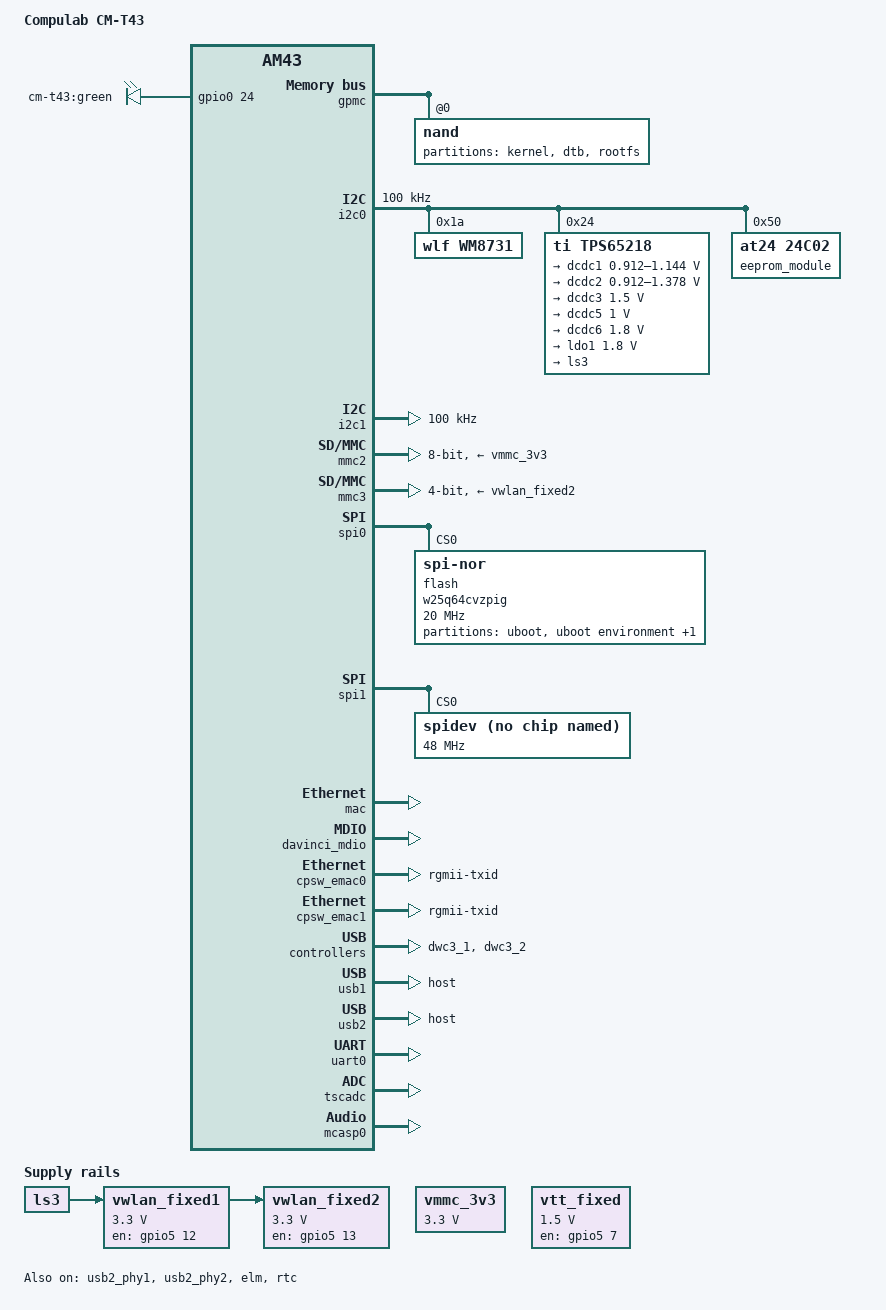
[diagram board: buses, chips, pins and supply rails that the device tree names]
/*
 * Support for CompuLab CM-T43
 */
 
/dts-v1/;

#include "am4372.dtsi"
#include <dt-bindings/pinctrl/am43xx.h>
#include <dt-bindings/pwm/pwm.h>
#include <dt-bindings/gpio/gpio.h>
#include <dt-bindings/interrupt-controller/irq.h>

/ {
	model = "Compulab CM-T43";
	compatible = "compulab,am437x-cm-t43","ti,am4372","ti,am43";

	leds {
		compatible = "gpio-leds";

		ledb {
			label = "cm-t43:green";
			gpios = <&gpio0 24 GPIO_ACTIVE_HIGH>;
			linux,default-trigger = "heartbeat";
		};
	};
	
	vmmc_3v3: fixedregulator-v3_3 {
		compatible = "regulator-fixed";
		regulator-name = "vmmc_3v3";
		regulator-min-microvolt = <3300000>;
		regulator-max-microvolt = <3300000>;
		regulator-always-on;
		enable-active-high;
	};

	vwlan_fixed1: fixed-regulator-vwlan1 {
		compatible = "regulator-fixed";
		regulator-name = "vwlan_fixed1";
		regulator-min-microvolt = <3300000>;
		regulator-max-microvolt = <3300000>;
		vin-supply = <&ls3>;
		gpio = <&gpio5 12 GPIO_ACTIVE_HIGH>;
		enable-active-high;
	};

	vwlan_fixed2: fixed-regulator-vwlan2 {
		compatible = "regulator-fixed";
		regulator-name = "vwlan_fixed2";
		regulator-min-microvolt = <3300000>;
		regulator-max-microvolt = <3300000>;
		gpio = <&gpio5 13 GPIO_ACTIVE_HIGH>;
		vin-supply = <&vwlan_fixed1>;
		enable-active-high;
	};

	vtt_fixed: fixedregulator-vtt {
		compatible = "regulator-fixed";
		regulator-name = "vtt_fixed";
		regulator-min-microvolt = <1500000>;
		regulator-max-microvolt = <1500000>;
		regulator-always-on;
		regulator-boot-on;
		enable-active-high;
		gpio = <&gpio5 7 GPIO_ACTIVE_HIGH>;
	};

	sound {
		compatible = "simple-audio-card";
		simple-audio-card,name = "CM-T43-Sound-Card";
		simple-audio-card,format = "i2s";
		simple-audio-card,bitclock-master = <&dailink0_master>;
		simple-audio-card,frame-master = <&dailink0_master>;
		simple-audio-card,widgets =
			"Headphone", "Headphone Jack",
			"Microphone", "Microphone Jack",
			"Line", "Line Jack";
		simple-audio-card,routing =
			"Headphone Jack", "RHPOUT",
			"Headphone Jack", "LHPOUT",
			"LLINEIN", "Line Jack",
			"MICIN", "Mic Bias",
			"Mic Bias", "Microphone Jack";

		simple-audio-card,cpu {
			sound-dai = <&mcasp0 0>;
			system-clock-direction = "out";
			clock-id = <0>;
		};

		dailink0_master: simple-audio-card,codec {
			sound-dai = <&wm8731>;
			system-clock-frequency = <12000000>;
			system-clock-direction = "in";
			clock-id = <1>;
		};
	};
};

&am43xx_pinmux {
	pinctrl-names = "default";
	pinctrl-0 = <&cm_t43_led_pins>;

	cm_t43_led_pins: cm_t43_led_pins {
		pinctrl-single,pins = <
			0x278 (MUX_MODE7)
		>;
	};

	i2c0_pins: i2c0_pins {
		pinctrl-single,pins = <
			0x188 (PIN_INPUT_PULLUP | SLEWCTRL_FAST | MUX_MODE0)  /* i2c0_sda.i2c0_sda */
			0x18c (PIN_INPUT_PULLUP | SLEWCTRL_FAST | MUX_MODE0)  /* i2c0_scl.i2c0_scl */
		>;
	};

	primary_i2c1_pins_default: primary_i2c1_pins_default {
		pinctrl-single,pins = <
			0x110 ( PIN_INPUT | MUX_MODE3 ) /* (B13) mii1_rx_er.I2C1_SCL */
			0x10c ( PIN_INPUT | MUX_MODE3 ) /* (B14) mii1_crs.I2C1_SDA */
		>;
	};

	mcasp0_pins: mcasp0_pins {
		pinctrl-single,pins = <
			0x1ac (PIN_INPUT_PULLDOWN  | MUX_MODE0)  /* mcasp0.ahclkx */
			0x194 (PIN_INPUT_PULLDOWN | MUX_MODE0)  /* mcasp0.fsx */
			0x1a8 (PIN_INPUT_PULLDOWN  | MUX_MODE0)  /* mcasp0.axr1 */
			0x198 (PIN_OUTPUT_PULLDOWN | MUX_MODE0)  /* mcasp0.axr0 */
			0x190 (PIN_INPUT_PULLDOWN | MUX_MODE0)  /* mcasp0.aclkx */
		>;
	};

	emmc_pins: emmc_pins {
		pinctrl-single,pins = <
			0x20 (PIN_INPUT_PULLUP | MUX_MODE2) /* gpmc_ad8.mmc1_dat0 */
			0x24 (PIN_INPUT_PULLUP | MUX_MODE2) /* gpmc_ad9.mmc1_dat1 */
			0x28 (PIN_INPUT_PULLUP | MUX_MODE2) /* gpmc_ad10.mmc1_dat2 */
			0x2c (PIN_INPUT_PULLUP | MUX_MODE2) /* gpmc_ad11.mmc1_dat3 */
			0x30 (PIN_INPUT_PULLUP | MUX_MODE2) /* gpmc_ad12.mmc1_dat4 */
			0x34 (PIN_INPUT_PULLUP | MUX_MODE2) /* gpmc_ad13.mmc1_dat5 */
			0x38 (PIN_INPUT_PULLUP | MUX_MODE2) /* gpmc_ad14.mmc1_dat6 */
			0x3c (PIN_INPUT_PULLUP | MUX_MODE2) /* gpmc_ad15.mmc1_dat7 */
			0x80 (PIN_INPUT_PULLUP | MUX_MODE2) /* gpmc_csn1.mmc1_clk */
			0x84 (PIN_INPUT_PULLUP | MUX_MODE2) /* gpmc_csn2.mmc1_cmd */
		>;
	};

	mmc3_pins_default: mmc3_pins_default {
		pinctrl-single,pins = <
			0x1F0 (PIN_INPUT_PULLUP | MUX_MODE3) /* cam1_data2.mmc2_clk */
			0x1F4 (PIN_INPUT_PULLUP | MUX_MODE3) /* cam1_data3.mmc2_cmd */
			0x1F8 (PIN_INPUT_PULLUP | MUX_MODE3) /* cam1_data4.mmc2_dat0 */
			0x1FC (PIN_INPUT_PULLUP | MUX_MODE3) /* cam1_data5.mmc2_dat1 */
			0x200 (PIN_INPUT_PULLUP | MUX_MODE3) /* cam1_data6.mmc2_dat2 */
			0x204 (PIN_INPUT_PULLUP | MUX_MODE3) /* cam1_data7.mmc2_dat3 */
		>;
	};

	mmc3_pins_idle: mmc3_pins_idle {
		pinctrl-single,pins = <
			0x1FC (PIN_INPUT_PULLUP | MUX_MODE7) /* cam1_data5.gpio4_19 */
		>;
	};

	spi0_pins: pinmux_spi0_pins {
		pinctrl-single,pins = <
			0x150 (PIN_INPUT | MUX_MODE0) /* spi0_sclk.spi0_sclk */
			0x154 (PIN_INPUT | MUX_MODE0) /* spi0_d0.spi0_d0 */
			0x158 (PIN_OUTPUT | MUX_MODE0) /* spi0_d1.spi0_d1 */
			0x15C (PIN_OUTPUT | MUX_MODE0) /* spi0_cs0.spi0_cs0 */
		>;
	};

	/* start */

	spi1_pins_default: spi1_pins_default {
		pinctrl-single,pins = <
			0x164 ( PIN_INPUT_PULLUP | MUX_MODE4 ) /* (G24) eCAP0_in_PWM0_out.spi1_sclk */
			0x168 ( PIN_OUTPUT_PULLUP | MUX_MODE4 ) /* (L25) uart0_ctsn.spi1_d0 */
			0x16c ( PIN_INPUT_PULLUP | MUX_MODE4 ) /* (J25) uart0_rtsn.spi1_d1 */
			0x178 ( PIN_OUTPUT_PULLUP | MUX_MODE4 ) /* (K22) uart1_ctsn.spi1_cs0 */
			0x270 ( PIN_OUTPUT_PULLUP | MUX_MODE4 ) /* (D24) xdma_event_intr0.spi1_cs1 */
		>;
	};

	/* end */
	
	wlan_pins: wlan_pins {
		pinctrl-single,pins = <
			0x248	(PIN_INPUT_PULLUP | MUX_MODE7)
			0x24C	(PIN_INPUT_PULLUP | MUX_MODE7)
		>;
	};

	nand_flash_x8: nand_flash_x8 {
		pinctrl-single,pins = <
			0x00 (PIN_INPUT | PULL_DISABLE | MUX_MODE0)
			0x04 (PIN_INPUT | PULL_DISABLE | MUX_MODE0)
			0x08 (PIN_INPUT | PULL_DISABLE | MUX_MODE0)
			0x0c (PIN_INPUT | PULL_DISABLE | MUX_MODE0)
			0x10 (PIN_INPUT | PULL_DISABLE | MUX_MODE0)
			0x14 (PIN_INPUT | PULL_DISABLE | MUX_MODE0)
			0x18 (PIN_INPUT | PULL_DISABLE | MUX_MODE0)
			0x1c (PIN_INPUT | PULL_DISABLE | MUX_MODE0)
			0x70 (PIN_INPUT_PULLUP  | MUX_MODE0)
			0x74 (PIN_OUTPUT_PULLUP | MUX_MODE0)
			0x7c (PIN_OUTPUT_PULLUP | MUX_MODE0)
			0x98 (PIN_OUTPUT_PULLDOWN | MUX_MODE0)
			0x94 (PIN_OUTPUT_PULLDOWN | MUX_MODE0)
			0x90 (PIN_OUTPUT_PULLDOWN | MUX_MODE0)
			0x9c (PIN_OUTPUT_PULLDOWN | MUX_MODE0)
		>;
	};

	cpsw_default: cpsw_default {
		pinctrl-single,pins = <
			/* Slave 1 */
			0x114 (PIN_OUTPUT_PULLDOWN | MUX_MODE2)	/* mii1_txen.rgmii1_txen */
			0x118 (PIN_INPUT_PULLDOWN | MUX_MODE2)	/* mii1_rxdv.rgmii1_rxctl */
			0x11c (PIN_OUTPUT_PULLDOWN | MUX_MODE2)	/* mii1_txd1.rgmii1_txd3 */
			0x120 (PIN_OUTPUT_PULLDOWN | MUX_MODE2)	/* mii1_txd0.rgmii1_txd2 */
			0x124 (PIN_OUTPUT_PULLDOWN | MUX_MODE2)	/* mii1_txd1.rgmii1_txd1 */
			0x128 (PIN_OUTPUT_PULLDOWN | MUX_MODE2)	/* mii1_txd0.rgmii1_txd0 */
			0x12c (PIN_OUTPUT_PULLDOWN | MUX_MODE2)	/* mii1_txclk.rmii1_tclk */
			0x130 (PIN_INPUT_PULLDOWN | MUX_MODE2)	/* mii1_rxclk.rmii1_rclk */
			0x134 (PIN_INPUT_PULLDOWN | MUX_MODE2)	/* mii1_rxd1.rgmii1_rxd3 */
			0x138 (PIN_INPUT_PULLDOWN | MUX_MODE2)	/* mii1_rxd0.rgmii1_rxd2 */
			0x13c (PIN_INPUT_PULLDOWN | MUX_MODE2)	/* mii1_rxd1.rgmii1_rxd1 */
			0x140 (PIN_INPUT_PULLDOWN | MUX_MODE2)	/* mii1_rxd0.rgmii1_rxd0 */
			0x274 (MUX_MODE3)
			/* Slave 2 */
			0x40 (PIN_OUTPUT_PULLDOWN | MUX_MODE2)	/* gpmc_a0.txen */
			0x44 (PIN_INPUT_PULLDOWN  | MUX_MODE2)	/* gpmc_a1.rxctl */
			0x48 (PIN_OUTPUT_PULLDOWN | MUX_MODE2)	/* gpmc_a2.txd3 */
			0x4c (PIN_OUTPUT_PULLDOWN | MUX_MODE2)	/* gpmc_a3.txd2 */
			0x50 (PIN_OUTPUT_PULLDOWN | MUX_MODE2)	/* gpmc_a4.txd1 */
			0x54 (PIN_OUTPUT_PULLDOWN | MUX_MODE2)	/* gpmc_a5.txd0 */
			0x58 (PIN_OUTPUT_PULLDOWN | MUX_MODE2)	/* gpmc_a6.tclk */
			0x5c (PIN_INPUT_PULLDOWN  | MUX_MODE2)	/* gpmc_a7.rclk */
			0x60 (PIN_INPUT_PULLDOWN  | MUX_MODE2)	/* gpmc_a8.rxd3 */
			0x64 (PIN_INPUT_PULLDOWN  | MUX_MODE2)	/* gpmc_a9.rxd2 */
			0x68 (PIN_INPUT_PULLDOWN  | MUX_MODE2)	/* gpmc_a10.rxd1 */
			0x6c (PIN_INPUT_PULLDOWN  | MUX_MODE2)	/* gpmc_a11.rxd0 */
			0x238 (MUX_MODE7)
		>;
	};

	cpsw_sleep: cpsw_sleep {
		pinctrl-single,pins = <
			/* Slave 1 reset value */
			0x114 (PIN_INPUT_PULLDOWN | MUX_MODE7)
			0x118 (PIN_INPUT_PULLDOWN | MUX_MODE7)
			0x11c (PIN_INPUT_PULLDOWN | MUX_MODE7)
			0x120 (PIN_INPUT_PULLDOWN | MUX_MODE7)
			0x124 (PIN_INPUT_PULLDOWN | MUX_MODE7)
			0x128 (PIN_INPUT_PULLDOWN | MUX_MODE7)
			0x12c (PIN_INPUT_PULLDOWN | MUX_MODE7)
			0x130 (PIN_INPUT_PULLDOWN | MUX_MODE7)
			0x134 (PIN_INPUT | PULL_DISABLE | MUX_MODE7)
			0x138 (PIN_INPUT | PULL_DISABLE | MUX_MODE7)
			0x13c (PIN_INPUT | PULL_DISABLE | MUX_MODE7)
			0x140 (PIN_INPUT | PULL_DISABLE | MUX_MODE7)
		>;
	};

	davinci_mdio_default: davinci_mdio_default {
		pinctrl-single,pins = <
			/* MDIO */
			0x148 (PIN_INPUT_PULLUP | SLEWCTRL_FAST | MUX_MODE0)	/* mdio_data.mdio_data */
			0x14c (PIN_OUTPUT_PULLUP | MUX_MODE0)			/* mdio_clk.mdio_clk */
		>;
	};

	davinci_mdio_sleep: davinci_mdio_sleep {
		pinctrl-single,pins = <
			/* MDIO reset value */
			0x148 (PIN_INPUT | PULL_DISABLE | MUX_MODE7)
			0x14c (PIN_INPUT | PULL_DISABLE | MUX_MODE7)
		>;
	};
};

&gpmc {
	status = "okay";
	pinctrl-names = "default";
	pinctrl-0 = <&nand_flash_x8>;
	ranges = <0 0 0x08000000 0x1000000>;
	nand@0,0 {
		reg = <0 0 0>;
		ti,nand-ecc-opt = "bch8";
		ti,elm-id = <&elm>;

		nand-bus-width = <8>;
		gpmc,device-width = <1>;
		gpmc,sync-clk-ps = <0>;
		gpmc,cs-on-ns = <0>;
		gpmc,cs-rd-off-ns = <44>;
		gpmc,cs-wr-off-ns = <44>;
		gpmc,adv-on-ns = <6>;
		gpmc,adv-rd-off-ns = <34>;
		gpmc,adv-wr-off-ns = <44>;
		gpmc,we-on-ns = <0>;
		gpmc,we-off-ns = <40>;
		gpmc,oe-on-ns = <0>;
		gpmc,oe-off-ns = <54>;
		gpmc,access-ns = <64>;
		gpmc,rd-cycle-ns = <82>;
		gpmc,wr-cycle-ns = <82>;
		gpmc,wait-on-read = "true";
		gpmc,wait-on-write = "true";
		gpmc,bus-turnaround-ns = <0>;
		gpmc,cycle2cycle-delay-ns = <0>;
		gpmc,clk-activation-ns = <0>;
		gpmc,wait-monitoring-ns = <0>;
		gpmc,wr-access-ns = <40>;
		gpmc,wr-data-mux-bus-ns = <0>;

		gpmc,wait-pin = <0>;

		#address-cells = <1>;
		#size-cells = <1>;
		/* MTD partition table */
		partition@0 {
			label = "kernel";
			reg = <0x00000000 0x00980000>;
		};
		partition@980000 {
			label = "dtb";
			reg = <0x00980000 0x00080000>;
		};
		partition@a00000 {
			label = "rootfs";
			reg = <0x00a00000 0>;
		};
	};
};

&i2c0 {
	status = "okay";
	pinctrl-names = "default";
	pinctrl-0 = <&i2c0_pins>;
	clock-frequency = <100000>;
	
	wm8731: wm8731@1a {
		#sound-dai-cells = <0>;
		compatible = "wlf,wm8731";
		reg = <0x1a>;
		status = "okay";
	};

	tps65218: tps65218@24 {
		compatible = "ti,tps65218";
		reg = <0x24>;
		interrupts = <GIC_SPI 7 IRQ_TYPE_NONE>; /* NMIn */
		interrupt-parent = <&gic>;
		interrupt-controller;
		#interrupt-cells = <2>;

		dcdc1: regulator-dcdc1 {
			compatible = "ti,tps65218-dcdc1";
			regulator-name = "vdd_core";
			regulator-min-microvolt = <912000>;
			regulator-max-microvolt = <1144000>;
			regulator-boot-on;
			regulator-always-on;
		};

		dcdc2: regulator-dcdc2 {
			compatible = "ti,tps65218-dcdc2";
			regulator-name = "vdd_mpu";
			regulator-min-microvolt = <912000>;
			regulator-max-microvolt = <1378000>;
			regulator-boot-on;
			regulator-always-on;
		};

		dcdc3: regulator-dcdc3 {
			compatible = "ti,tps65218-dcdc3";
			regulator-name = "vdcdc3";
			regulator-suspend-enable;
			regulator-min-microvolt = <1500000>;
			regulator-max-microvolt = <1500000>;
			regulator-boot-on;
			regulator-always-on;
		};
		
		dcdc5: regulator-dcdc5 {
			compatible = "ti,tps65218-dcdc5";
			regulator-name = "v1_0bat";
			regulator-min-microvolt = <1000000>;
			regulator-max-microvolt = <1000000>;
			regulator-boot-on;
			regulator-always-on;
		};

		dcdc6: regulator-dcdc6 {
			compatible = "ti,tps65218-dcdc6";
			regulator-name = "v1_8bat";
			regulator-min-microvolt = <1800000>;
			regulator-max-microvolt = <1800000>;
			regulator-boot-on;
			regulator-always-on;
		};

		ldo1: regulator-ldo1 {
			compatible = "ti,tps65218-ldo1";
			regulator-min-microvolt = <1800000>;
			regulator-max-microvolt = <1800000>;
			regulator-boot-on;
			regulator-always-on;
		};

		ls3: regulator-ls3 {
			compatible = "ti,tps65218-ls3";
			regulator-name = "vcc_wlan";
			regulator-min-microamp = <100>;
			regulator-max-microamp = <1000>;
			regulator-boot-on;
			regulator-always-on;
			regulator-input-current-limit-microamp = <1000>;
		};
	};
	
	eeprom_module: at24@50 {
		compatible = "at24,24c02";
		reg = <0x50>;
		pagesize = <16>;
	};
};

&i2c1 {
	status = "okay";
	pinctrl-names = "default";
	pinctrl-0 = <&primary_i2c1_pins_default>;
	clock-frequency = <100000>;
};

&gpio0 {
	status = "okay";
};

&gpio1 {
	status = "okay";
};

&gpio2 {
	status = "okay";
};

&gpio3 {
	status = "okay";
};

&gpio4 {
	status = "okay";
	ti,gpio-always-on;
};

&gpio5 {
	status = "okay";
	ti,no-reset-on-init;
};

&mmc2 {
	status = "okay";
	pinctrl-names = "default";
	pinctrl-0 = <&emmc_pins>;
	vmmc-supply = <&vmmc_3v3>;
	bus-width = <8>;
	ti,non-removable;
};

&mmc3 {
	status = "okay";
	pinctrl-names = "default", "idle";
	pinctrl-0 = <&mmc3_pins_default>;
	pinctrl-1 = <&mmc3_pins_idle>;
	vmmc-supply = <&vwlan_fixed2>;
	bus-width = <4>;
	ti,non-removable;
	dmas = <&edma 30
		&edma 31>;
	dma-names = "tx", "rx";
	interrupts-extended = <&wakeupgen GIC_SPI 29 IRQ_TYPE_LEVEL_HIGH
			       &gpio4 19 GPIO_ACTIVE_LOW>;
};

&edma {
	ti,edma-xbar-event-map = /bits/ 16 <1 30
				  	    2 31>;
};

&spi0 {
	status = "okay";
	pinctrl-names = "default";
	pinctrl-0 = <&spi0_pins>;
	dmas = <&edma 16
		&edma 17>;
	dma-names = "tx0", "rx0";

	flash: w25q64cvzpig@0 {
                #address-cells = <1>;
                #size-cells = <1>;
                compatible = "jedec,spi-nor";
                reg = <0>;
		spi-max-frequency = <20000000>;
                partition@0 {
                        label = "uboot";
                        reg = <0x0 0xc0000>;
                };

                partition@c0000 {
                        label = "uboot environment";
                        reg = <0xc0000 0x40000>;
                };

                partition@100000 {
                        label = "reserved";
                        reg = <0x100000 0x100000>;
                };
        };
};

&spi1 {
	status = "okay";
	pinctrl-names = "default";
	pinctrl-0 = <&spi1_pins_default>;
        spidev@0 {
                compatible = "rohm,dh2228fv";
                spi-max-frequency = <48000000>;
                reg = <0x0>;
                status = "okay";
        };
};

&mac {
	pinctrl-names = "default", "sleep";
	pinctrl-0 = <&cpsw_default>;
	pinctrl-1 = <&cpsw_sleep>;
	dual_emac = <1>;
	status = "okay";
};

&davinci_mdio {
	pinctrl-names = "default", "sleep";
	pinctrl-0 = <&davinci_mdio_default>;
	pinctrl-1 = <&davinci_mdio_sleep>;
	status = "okay";
};

&cpsw_emac0 {
	phy_id = <&davinci_mdio>, <0>;
	phy-mode = "rgmii-txid";
	dual_emac_res_vlan = <1>;
};

&cpsw_emac1 {
	phy_id = <&davinci_mdio>, <1>;
	phy-mode = "rgmii-txid";
	dual_emac_res_vlan = <2>;
};

&dwc3_1 {
	status = "okay";
};

&usb2_phy1 {
	status = "okay";
};

&usb1 {
	dr_mode = "host";
	status = "okay";
};

&dwc3_2 {
	status = "okay";
};

&usb2_phy2 {
	status = "okay";
};

&usb2 {
	dr_mode = "host";
	status = "okay";
	interrupts = <GIC_SPI 174 IRQ_TYPE_LEVEL_HIGH>,
		     <GIC_SPI 174 IRQ_TYPE_LEVEL_HIGH>,
		     <GIC_SPI 178 IRQ_TYPE_LEVEL_HIGH>;
	interrupt-names = "peripheral", "host", "otg";
};

&elm {
	status = "okay";
};

&rtc {
        status = "okay";
};

&uart0 {
	status = "okay";
};

&tscadc {
	status = "okay";
	tsc {
		ti,wires = <4>;
		ti,x-plate-resistance = <200>;
		ti,coordiante-readouts = <5>;
		ti,wire-config = <0x00 0x11 0x22 0x33>;
	};

	adc {
		ti,adc-channels = <4 5 6 7>;
	};
};

&mcasp0 {
	#sound-dai-cells = <0>;
	pinctrl-names = "default";
	pinctrl-0 = <&mcasp0_pins>;
	op-mode = <0>;
	status = "okay";
	tdm-slots = <2>;
	serial-dir = <1 2>;
	tx-num-evt = <1>;
	rx-num-evt = <1>;
};

&cpu {
	cpu0-supply = <&dcdc2>;
	operating-points = <1000000 1330000>,
			   <800000 1260000>,
			   <720000 1200000>,
			   <600000 1100000>,
			   <300000 950000>;
};
